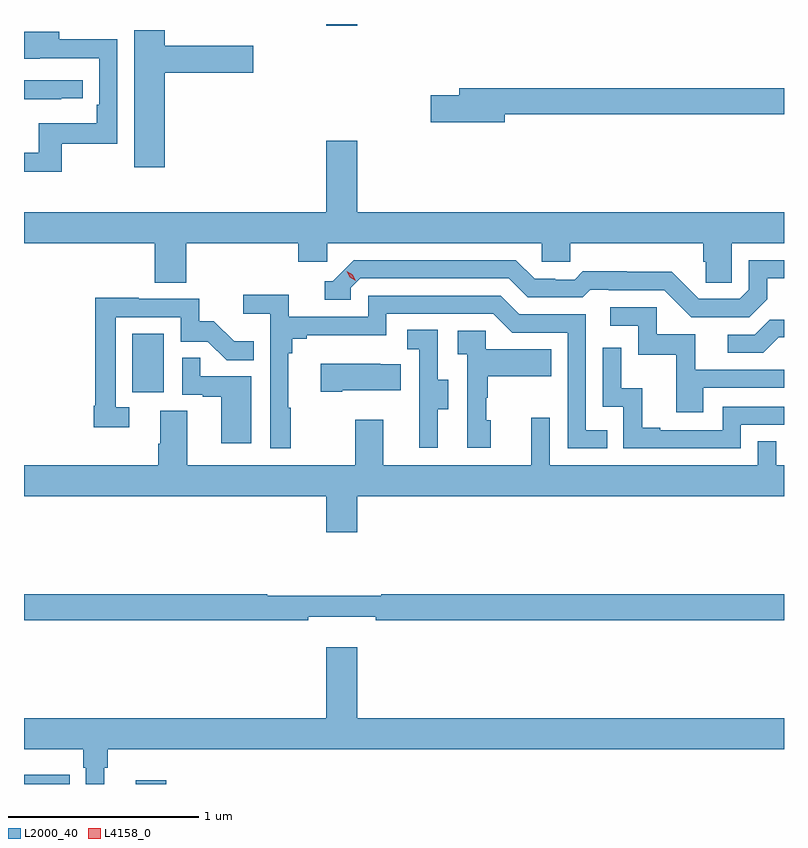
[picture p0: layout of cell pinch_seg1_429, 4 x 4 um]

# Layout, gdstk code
import gdstk
lib = gdstk.Library(unit=1e-6, precision=1e-09)
def R(c, l, rs):  # rectangles x0, y0, x1, y1
    for r in rs: c.add(gdstk.rectangle(r[:2], r[2:], *l))
def P(c, l, *ps):  # polygons
    for p in ps: c.add(gdstk.Polygon(p, *l))
L2000_40 = (2000, 40)
L4158_0 = (4158, 0)

pinch_seg1_429 = lib.new_cell('pinch_seg1_429')
R(pinch_seg1_429, L2000_40, [(931.238,519.582,931.397,519.601), (931.22,521.645,931.384,521.953), (932.24,523.572,932.404,523.582)])
P(pinch_seg1_429, L2000_40, [(931.39,523.325),(931.855,523.325),(931.855,523.467),(931.39,523.467),(931.39,523.549),(931.229,523.549),(931.229,522.828),(931.39,522.828)],
  [(930.847,522.951),(931.14,522.951),(931.14,523.502),(930.835,523.502),(930.835,523.54),(930.649,523.54),(930.649,523.4),(930.731,523.4),(930.731,523.401),(931.044,523.401),(931.044,523.156),(931.031,523.156),(931.031,523.06),(930.726,523.06),(930.726,522.905),(930.649,522.905),(930.649,522.804),(930.847,522.804)],
  [(930.845,523.191),(930.958,523.191),(930.958,523.287),(930.649,523.287),(930.649,523.186),(930.845,523.186)],
  [(933.178,523.108),(934.649,523.108),(934.649,523.244),(932.939,523.244),(932.939,523.208),(932.79,523.208),(932.79,523.066),(933.178,523.066)],
  [(930.649,522.428),(931.337,522.428),(931.337,522.22),(931.502,522.22),(931.502,522.428),(932.093,522.428),(932.093,522.33),(932.244,522.33),(932.244,522.428),(933.375,522.428),(933.375,522.33),(933.525,522.33),(933.525,522.428),(934.223,522.428),(934.223,522.33),(934.237,522.33),(934.237,522.22),(934.374,522.22),(934.374,522.428),(934.649,522.428),(934.649,522.592),(932.404,522.592),(932.404,522.967),(932.24,522.967),(932.24,522.592),(930.649,522.592)],
  [(934.561,522.133),(934.561,522.243),(934.649,522.243),(934.649,522.339),(934.464,522.339),(934.464,522.183),(934.416,522.135),(934.2,522.135),(934.058,522.277),(933.822,522.277),(933.822,522.28),(933.589,522.28),(933.547,522.237),(933.444,522.237),(933.444,522.24),(933.337,522.24),(933.238,522.339),(932.385,522.339),(932.274,522.228),(932.231,522.228),(932.231,522.132),(932.37,522.132),(932.37,522.195),(932.418,522.243),(933.201,522.243),(933.3,522.144),(933.589,522.144),(933.628,522.183),(933.727,522.183),(933.727,522.18),(934.02,522.18),(934.161,522.039),(934.467,522.039)],
  [(932.053,521.561),(932.041,521.561),(932.041,521.849),(932.06,521.849),(932.06,521.926),(932.137,521.926),(932.137,521.945),(932.556,521.945),(932.556,522.057),(933.12,522.057),(933.219,521.958),(933.51,521.958),(933.51,521.349),(933.719,521.349),(933.719,521.445),(933.606,521.445),(933.606,522.054),(933.256,522.054),(933.157,522.153),(932.46,522.153),(932.46,522.042),(932.042,522.042),(932.042,522.158),(931.803,522.158),(931.803,522.056),(931.944,522.056),(931.944,521.349),(932.053,521.349)],
  [(931.204,521.565),(931.131,521.565),(931.131,522.039),(931.473,522.039),(931.473,521.91),(931.617,521.91),(931.715,521.812),(931.859,521.812),(931.859,521.911),(931.755,521.911),(931.648,522.018),(931.572,522.018),(931.572,522.135),(931.253,522.135),(931.253,522.14),(931.023,522.14),(931.023,521.572),(931.015,521.572),(931.015,521.46),(931.204,521.46)],
  [(934.225,521.667),(934.649,521.667),(934.649,521.763),(934.183,521.763),(934.183,521.949),(933.978,521.949),(933.978,522.09),(933.735,522.09),(933.735,521.994),(933.882,521.994),(933.882,521.841),(934.081,521.841),(934.081,521.538),(934.225,521.538)],
  [(934.621,521.934),(934.649,521.934),(934.649,522.026),(934.574,522.026),(934.494,521.946),(934.353,521.946),(934.353,521.853),(934.54,521.853)],
  [(932.827,521.554),(932.881,521.554),(932.881,521.709),(932.826,521.709),(932.826,521.972),(932.667,521.972),(932.667,521.869),(932.73,521.869),(932.73,521.565),(932.729,521.565),(932.729,521.352),(932.827,521.352)],
  [(933.106,521.496),(933.081,521.496),(933.081,521.615),(933.091,521.615),(933.091,521.729),(933.425,521.729),(933.425,521.869),(933.078,521.869),(933.078,521.967),(932.931,521.967),(932.931,521.843),(932.982,521.843),(932.982,521.352),(933.106,521.352)],
  [(934.422,521.472),(934.649,521.472),(934.649,521.568),(934.326,521.568),(934.326,521.445),(933.997,521.445),(933.997,521.458),(933.902,521.458),(933.902,521.666),(933.792,521.666),(933.792,521.878),(933.696,521.878),(933.696,521.568),(933.804,521.568),(933.804,521.349),(934.422,521.349)],
  [(931.846,521.727),(931.577,521.727),(931.577,521.825),(931.482,521.825),(931.482,521.631),(931.589,521.631),(931.589,521.619),(931.688,521.619),(931.688,521.376),(931.846,521.376)],
  [(932.323,521.654),(932.633,521.654),(932.633,521.791),(932.525,521.791),(932.525,521.794),(932.211,521.794),(932.211,521.647),(932.323,521.647)],
  [(932.404,521.096),(934.649,521.096),(934.649,521.26),(934.608,521.26),(934.608,521.387),(934.512,521.387),(934.512,521.26),(933.417,521.26),(933.417,521.509),(933.32,521.509),(933.32,521.26),(932.539,521.26),(932.539,521.5),(932.392,521.5),(932.392,521.26),(931.507,521.26),(931.507,521.546),(931.367,521.546),(931.367,521.372),(931.355,521.372),(931.355,521.26),(930.649,521.26),(930.649,521.096),(932.24,521.096),(932.24,520.908),(932.404,520.908)],
  [(932.144,520.463),(932.5,520.463),(932.5,520.444),(934.649,520.444),(934.649,520.58),(932.53,520.58),(932.53,520.573),(931.93,520.573),(931.93,520.58),(930.649,520.58),(930.649,520.444),(932.144,520.444)],
  [(931.072,519.668),(931.091,519.668),(931.091,519.764),(934.649,519.764),(934.649,519.928),(932.404,519.928),(932.404,520.303),(932.24,520.303),(932.24,519.928),(930.649,519.928),(930.649,519.764),(930.962,519.764),(930.962,519.668),(930.975,519.668),(930.975,519.582),(931.072,519.582)],
  [(930.89,519.63),(930.782,519.63),(930.782,519.631),(930.649,519.631),(930.649,519.582),(930.89,519.582)])
P(pinch_seg1_429, L4158_0, [(932.394,522.23),(932.363,522.249),(932.347,522.281),(932.347,522.281),(932.347,522.281),(932.378,522.262),(932.395,522.23),(932.395,522.23)])

lib.write_gds('pinch_seg1_429.gds')
